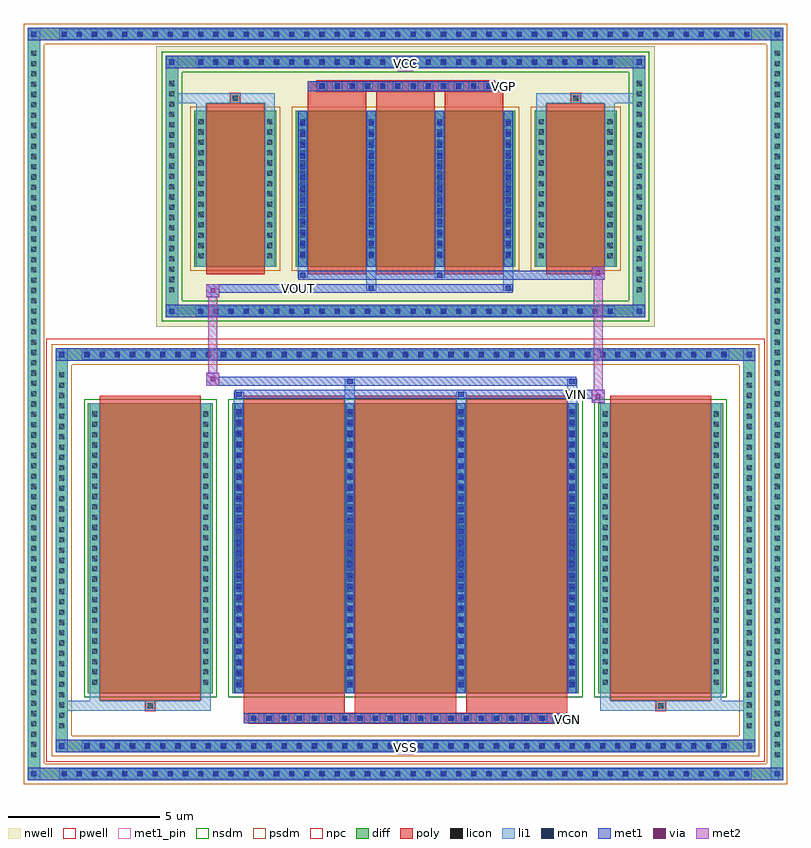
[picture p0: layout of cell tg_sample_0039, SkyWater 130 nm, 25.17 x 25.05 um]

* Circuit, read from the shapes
.subckt tg_sample_0039 VCC VGN VGP VIN VOUT VSS
XM1 VSS VSS VSS VSUBS sky130_fd_pr__nfet_01v8 w=9.56 l=3.33 m=2
XM2 VOUT VGN VIN VSUBS sky130_fd_pr__nfet_01v8 w=9.56 l=3.33 m=3
XM3 VCC VCC VCC n1 sky130_fd_pr__pfet_01v8 w=5.13 l=1.93 m=2
XM4 VOUT VGP VIN n1 sky130_fd_pr__pfet_01v8 w=5.13 l=1.93 m=3
.ends

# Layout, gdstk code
import gdstk
lib = gdstk.Library(unit=1e-6, precision=5e-09)
def R(c, l, rs):  # rectangles x0, y0, x1, y1
    for r in rs: c.add(gdstk.rectangle(r[:2], r[2:], *l))
def A(c, l, x, y, w, h, nx, ny, dx, dy):  # array of equal rectangles
    R(c, l, [(x+i*dx, y+j*dy, x+i*dx+w, y+j*dy+h) for i in range(nx) for j in range(ny)])
def P(c, l, *ps):  # polygons
    for p in ps: c.add(gdstk.Polygon(p, *l))
nwell = (64, 20)
pwell = (64, 44)
diff = (65, 20)
poly = (66, 20)
licon = (66, 44)
li1 = (67, 20)
mcon = (67, 44)
met1_pin = (68, 16)
met1 = (68, 20)
via = (68, 44)
met2 = (69, 20)
nsdm = (93, 44)
psdm = (94, 20)
npc = (95, 20)

tg_sample_0039 = lib.new_cell('tg_sample_0039')
R(tg_sample_0039, nwell, [(-8.215,7.365,8.215,16.605)])
R(tg_sample_0039, pwell, [(-11.845,-6.965,11.845,6.965)])
A(tg_sample_0039, diff, -11.455, -7.575, 0.41, 0.41, 46, 2, 0.5, 24.38)
A(tg_sample_0039, diff, -12.455, -6.945, 0.41, 0.41, 1, 69, 0, 0.34)
A(tg_sample_0039, diff, 12.045, -6.945, 0.41, 0.41, 1, 69, 0, 0.34)
A(tg_sample_0039, diff, -10.705, -6.655, 0.41, 0.41, 43, 2, 0.5, 12.9)
A(tg_sample_0039, diff, -11.535, -5.985, 0.41, 0.41, 1, 35, 0, 0.34)
A(tg_sample_0039, diff, 11.125, -5.985, 0.41, 0.41, 1, 35, 0, 0.34)
A(tg_sample_0039, diff, -6.955, 7.675, 0.41, 0.41, 28, 2, 0.5, 8.21)
A(tg_sample_0039, diff, -7.905, 8.38, 0.41, 0.41, 1, 21, 0, 0.34)
A(tg_sample_0039, diff, 7.495, 8.38, 0.41, 0.41, 1, 21, 0, 0.34)
R(tg_sample_0039, diff, [(-11.455,-7.575,11.455,-7.165), (-12.455,-6.945,-12.045,16.585), (12.045,-6.945,12.455,16.585), (-10.705,-6.655,10.705,-6.245), (-11.535,-5.985,-11.125,5.985), (11.125,-5.985,11.535,5.985), (-10.465,-4.71,-6.355,4.85), (-5.715,-4.71,5.715,4.85), (6.355,-4.71,10.465,4.85), (-10.705,6.245,10.705,6.655), (-6.955,7.675,6.955,8.085), (-7.905,8.38,-7.495,15.59), (7.495,8.38,7.905,15.59), (-6.965,9.35,-4.255,14.48), (-3.615,9.35,3.615,14.48), (4.255,9.35,6.965,14.48), (-6.955,15.885,6.955,16.295), (-11.455,16.805,11.455,17.215)])
P(tg_sample_0039, diff, [(11.535,6.655),(-11.535,6.655),(-11.535,-6.245),(-11.125,-6.245),(-11.125,6.245),(11.125,6.245),(11.125,-6.245),(-11.125,-6.245),(-11.535,-6.245),(-11.535,-6.655),(11.535,-6.655)],
  [(12.455,17.215),(-12.455,17.215),(-12.455,-7.165),(-12.045,-7.165),(-12.045,16.805),(12.045,16.805),(12.045,-7.165),(-12.045,-7.165),(-12.455,-7.165),(-12.455,-7.575),(12.455,-7.575)],
  [(7.905,7.675),(-7.905,7.675),(-7.905,15.885),(-7.495,15.885),(-7.495,8.085),(7.495,8.085),(7.495,15.885),(-7.495,15.885),(-7.905,15.885),(-7.905,16.295),(7.905,16.295)])
A(tg_sample_0039, poly, -5.165, -5.7, 0.33, 0.33, 21, 1, 0.5, 0)
A(tg_sample_0039, poly, -5.325, -5.37, 3.33, 0.41, 3, 1, 3.66, 0)
A(tg_sample_0039, poly, -5.325, -4.96, 3.33, 10.06, 3, 1, 3.66, 0)
A(tg_sample_0039, poly, -3.225, 9.1, 1.93, 5.63, 3, 1, 2.26, 0)
A(tg_sample_0039, poly, -3.225, 14.73, 1.93, 0.405, 3, 1, 2.26, 0)
A(tg_sample_0039, poly, -2.915, 15.135, 0.33, 0.33, 12, 1, 0.5, 0)
R(tg_sample_0039, poly, [(-5.325,-5.7,5.325,-5.37), (-8.575,-5.29,-8.245,-4.96), (-8.575,-5.29,-8.245,-4.96), (8.245,-5.29,8.575,-4.96), (8.245,-5.29,8.575,-4.96), (-10.075,-4.96,-6.745,5.1), (6.745,-4.96,10.075,5.1), (-6.575,9.1,-4.645,14.73), (4.645,9.1,6.575,14.73), (-5.775,14.73,-5.445,15.06), (-5.775,14.73,-5.445,15.06), (5.445,14.73,5.775,15.06), (5.445,14.73,5.775,15.06), (-3.225,15.135,3.225,15.465)])
A(tg_sample_0039, licon, -11.335, -7.455, 0.17, 0.17, 46, 2, 0.5, 24.38)
A(tg_sample_0039, licon, -12.335, -6.825, 0.17, 0.17, 1, 69, 0, 0.34)
A(tg_sample_0039, licon, 12.165, -6.825, 0.17, 0.17, 1, 69, 0, 0.34)
A(tg_sample_0039, licon, -10.585, -6.535, 0.17, 0.17, 43, 2, 0.5, 12.9)
A(tg_sample_0039, licon, -11.415, -5.865, 0.17, 0.17, 1, 35, 0, 0.34)
A(tg_sample_0039, licon, 11.245, -5.865, 0.17, 0.17, 1, 35, 0, 0.34)
A(tg_sample_0039, licon, -5.085, -5.62, 0.17, 0.17, 21, 1, 0.5, 0)
A(tg_sample_0039, licon, -10.325, -4.435, 0.17, 0.17, 1, 27, 0, 0.34)
A(tg_sample_0039, licon, -6.665, -4.435, 0.17, 0.17, 1, 27, 0, 0.34)
A(tg_sample_0039, licon, -5.575, -4.435, 0.17, 0.17, 4, 27, 3.66, 0.34)
A(tg_sample_0039, licon, 6.495, -4.435, 0.17, 0.17, 1, 27, 0, 0.34)
A(tg_sample_0039, licon, 10.155, -4.435, 0.17, 0.17, 1, 27, 0, 0.34)
A(tg_sample_0039, licon, -6.835, 7.795, 0.17, 0.17, 28, 2, 0.5, 8.21)
A(tg_sample_0039, licon, -7.785, 8.5, 0.17, 0.17, 1, 21, 0, 0.34)
A(tg_sample_0039, licon, 7.615, 8.5, 0.17, 0.17, 1, 21, 0, 0.34)
A(tg_sample_0039, licon, -6.825, 9.62, 0.17, 0.17, 1, 14, 0, 0.34)
A(tg_sample_0039, licon, -4.565, 9.62, 0.17, 0.17, 1, 14, 0, 0.34)
A(tg_sample_0039, licon, -3.475, 9.62, 0.17, 0.17, 4, 14, 2.26, 0.34)
A(tg_sample_0039, licon, 4.395, 9.62, 0.17, 0.17, 1, 14, 0, 0.34)
A(tg_sample_0039, licon, 6.655, 9.62, 0.17, 0.17, 1, 14, 0, 0.34)
A(tg_sample_0039, licon, -2.835, 15.215, 0.17, 0.17, 12, 1, 0.5, 0)
R(tg_sample_0039, licon, [(-8.495,-5.21,-8.325,-5.04), (8.325,-5.21,8.495,-5.04), (-5.695,14.81,-5.525,14.98), (5.525,14.81,5.695,14.98)])
A(tg_sample_0039, li1, -11.415, -7.535, 0.33, 0.33, 46, 2, 0.5, 24.38)
A(tg_sample_0039, li1, -12.415, -6.905, 0.33, 0.33, 1, 69, 0, 0.34)
A(tg_sample_0039, li1, 12.085, -6.905, 0.33, 0.33, 1, 69, 0, 0.34)
A(tg_sample_0039, li1, -10.665, -6.615, 0.33, 0.33, 43, 2, 0.5, 12.9)
A(tg_sample_0039, li1, -11.495, -5.945, 0.33, 0.33, 1, 35, 0, 0.34)
A(tg_sample_0039, li1, 11.165, -5.945, 0.33, 0.33, 1, 35, 0, 0.34)
A(tg_sample_0039, li1, -5.165, -5.7, 0.33, 0.33, 21, 1, 0.5, 0)
A(tg_sample_0039, li1, -5.655, -4.71, 0.33, 9.56, 4, 1, 3.66, 0)
A(tg_sample_0039, li1, -10.405, -4.515, 0.33, 0.33, 1, 27, 0, 0.34)
A(tg_sample_0039, li1, -6.745, -4.515, 0.33, 0.33, 1, 27, 0, 0.34)
A(tg_sample_0039, li1, -5.655, -4.515, 0.33, 0.33, 4, 27, 3.66, 0.34)
A(tg_sample_0039, li1, -5.575, -4.515, 0.17, 0.17, 4, 26, 3.66, 0.36)
A(tg_sample_0039, li1, -5.575, -4.515, 0.17, 9.17, 4, 1, 3.66, 0)
A(tg_sample_0039, li1, 6.415, -4.515, 0.33, 0.33, 1, 27, 0, 0.34)
A(tg_sample_0039, li1, 10.075, -4.515, 0.33, 0.33, 1, 27, 0, 0.34)
A(tg_sample_0039, li1, -6.915, 7.715, 0.33, 0.33, 28, 2, 0.5, 8.21)
A(tg_sample_0039, li1, -7.865, 8.42, 0.33, 0.33, 1, 21, 0, 0.34)
A(tg_sample_0039, li1, 7.535, 8.42, 0.33, 0.33, 1, 21, 0, 0.34)
A(tg_sample_0039, li1, -3.555, 9.35, 0.33, 5.13, 4, 1, 2.26, 0)
A(tg_sample_0039, li1, -6.905, 9.54, 0.33, 0.33, 1, 14, 0, 0.34)
A(tg_sample_0039, li1, -4.645, 9.54, 0.33, 0.33, 1, 14, 0, 0.34)
A(tg_sample_0039, li1, -3.555, 9.54, 0.33, 0.33, 4, 14, 2.26, 0.34)
A(tg_sample_0039, li1, 4.315, 9.54, 0.33, 0.33, 1, 14, 0, 0.34)
A(tg_sample_0039, li1, 6.575, 9.54, 0.33, 0.33, 1, 14, 0, 0.34)
A(tg_sample_0039, li1, -3.475, 9.67, 0.17, 0.17, 4, 13, 2.26, 0.36)
A(tg_sample_0039, li1, -3.475, 9.67, 0.17, 4.49, 4, 1, 2.26, 0)
A(tg_sample_0039, li1, -2.915, 15.135, 0.33, 0.33, 12, 1, 0.5, 0)
R(tg_sample_0039, li1, [(-12.455,-7.575,-12.045,-7.165), (12.045,-7.575,12.455,-7.165), (-11.415,-7.535,11.415,-7.205), (-12.335,-7.455,-12.165,-7.285), (-12.335,-7.455,-12.165,-7.285), (12.165,-7.455,12.335,-7.285), (12.165,-7.455,12.335,-7.285), (-12.455,-7.165,-12.045,16.805), (12.045,-7.165,12.455,16.805), (-11.535,-6.655,-11.125,-6.245), (11.125,-6.655,11.535,-6.245), (-10.665,-6.615,10.665,-6.285), (-11.415,-6.535,-11.245,-6.365), (-11.415,-6.535,-11.245,-6.365), (11.245,-6.535,11.415,-6.365), (11.245,-6.535,11.415,-6.365), (-11.535,-6.245,-11.125,6.245), (11.125,-6.245,11.535,6.245), (-11.535,-5.29,-8.575,-4.96), (-10.405,-5.29,-8.575,-4.96), (-10.405,-5.29,-10.075,-4.71), (-8.575,-5.29,-8.245,-4.96), (-8.245,-5.29,-6.415,-4.96), (-6.745,-5.29,-6.415,-4.71), (6.415,-5.29,8.245,-4.96), (6.415,-5.29,6.745,-4.71), (8.245,-5.29,8.575,-4.96), (8.245,-5.29,11.535,-4.96), (8.575,-5.29,10.405,-4.96), (10.075,-5.29,10.405,-4.71), (-10.405,-4.71,-10.075,4.85), (-6.745,-4.71,-6.415,4.85), (6.415,-4.71,6.745,4.85), (10.075,-4.71,10.405,4.85), (-5.655,4.85,-5.325,5.225), (-1.995,4.85,-1.665,5.655), (1.665,4.85,1.995,5.225), (5.325,4.85,5.655,5.655), (-5.575,5.055,-5.405,5.225), (1.745,5.055,1.915,5.225), (-1.915,5.485,-1.745,5.655), (5.405,5.485,5.575,5.655), (-11.535,6.245,-11.125,6.655), (11.125,6.245,11.535,6.655), (-10.665,6.285,10.665,6.615), (-11.415,6.365,-11.245,6.535), (-11.415,6.365,-11.245,6.535), (11.245,6.365,11.415,6.535), (11.245,6.365,11.415,6.535), (-7.905,7.675,-7.495,8.085), (7.495,7.675,7.905,8.085), (-6.915,7.715,6.915,8.045), (-7.785,7.795,-7.615,7.965), (-7.785,7.795,-7.615,7.965), (7.615,7.795,7.785,7.965), (7.615,7.795,7.785,7.965), (-7.905,8.085,-7.495,15.885), (7.495,8.085,7.905,15.885), (-1.295,8.545,-0.965,9.35), (-1.215,8.545,-1.045,8.715), (3.225,8.545,3.555,9.35), (3.305,8.545,3.475,8.715), (-3.555,8.975,-3.225,9.35), (-3.475,8.975,-3.305,9.145), (0.965,8.975,1.295,9.35), (1.045,8.975,1.215,9.145), (-6.905,9.35,-6.575,14.48), (-4.645,9.35,-4.315,14.48), (4.315,9.35,4.645,14.48), (6.575,9.35,6.905,14.48), (-6.905,14.48,-6.575,15.06), (-4.645,14.48,-4.315,15.06), (4.315,14.48,4.645,15.06), (6.575,14.48,6.905,15.06), (-7.905,14.73,-5.775,15.06), (-6.905,14.73,-5.775,15.06), (-5.775,14.73,-5.445,15.06), (-5.445,14.73,-4.315,15.06), (4.315,14.73,5.445,15.06), (5.445,14.73,5.775,15.06), (5.445,14.73,7.905,15.06), (5.775,14.73,6.905,15.06), (-7.905,15.885,-7.495,16.295), (7.495,15.885,7.905,16.295), (-6.915,15.925,6.915,16.255), (-7.785,16.005,-7.615,16.175), (-7.785,16.005,-7.615,16.175), (7.615,16.005,7.785,16.175), (7.615,16.005,7.785,16.175), (-12.455,16.805,-12.045,17.215), (12.045,16.805,12.455,17.215), (-11.415,16.845,11.415,17.175), (-12.335,16.925,-12.165,17.095), (-12.335,16.925,-12.165,17.095), (12.165,16.925,12.335,17.095), (12.165,16.925,12.335,17.095)])
A(tg_sample_0039, mcon, -11.335, -7.455, 0.17, 0.17, 46, 2, 0.5, 24.38)
A(tg_sample_0039, mcon, -10.585, -6.535, 0.17, 0.17, 43, 2, 0.5, 12.9)
A(tg_sample_0039, mcon, -5.085, -5.62, 0.17, 0.17, 21, 1, 0.5, 0)
A(tg_sample_0039, mcon, -5.575, -4.515, 0.17, 0.17, 4, 26, 3.66, 0.36)
A(tg_sample_0039, mcon, -6.835, 7.795, 0.17, 0.17, 28, 2, 0.5, 8.21)
A(tg_sample_0039, mcon, -3.475, 9.67, 0.17, 0.17, 4, 13, 2.26, 0.36)
A(tg_sample_0039, mcon, -2.835, 15.215, 0.17, 0.17, 12, 1, 0.5, 0)
R(tg_sample_0039, mcon, [(-12.335,-7.455,-12.165,-7.285), (12.165,-7.455,12.335,-7.285), (-11.415,-6.535,-11.245,-6.365), (11.245,-6.535,11.415,-6.365), (-5.575,5.055,-5.405,5.225), (1.745,5.055,1.915,5.225), (-1.915,5.485,-1.745,5.655), (5.405,5.485,5.575,5.655), (-11.415,6.365,-11.245,6.535), (11.245,6.365,11.415,6.535), (-7.785,7.795,-7.615,7.965), (7.615,7.795,7.785,7.965), (-1.215,8.545,-1.045,8.715), (3.305,8.545,3.475,8.715), (-3.475,8.975,-3.305,9.145), (1.045,8.975,1.215,9.145), (-7.785,16.005,-7.615,16.175), (7.615,16.005,7.785,16.175), (-12.335,16.925,-12.165,17.095), (12.165,16.925,12.335,17.095)])
R(tg_sample_0039, met1_pin, [(-0.25,-6.745,0.25,-6.245), (5.19,-5.7,5.46,-5.43), (5.5,4.995,5.77,5.265), (-3.67,8.485,-3.4,8.755), (3.09,15.135,3.36,15.405), (-0.25,15.795,0.25,16.295)])
A(tg_sample_0039, met1, -11.395, -7.515, 0.29, 0.29, 46, 2, 0.5, 24.38)
A(tg_sample_0039, met1, -10.645, -6.595, 0.29, 0.29, 43, 2, 0.5, 12.9)
A(tg_sample_0039, met1, -5.145, -5.68, 0.29, 0.29, 21, 1, 0.5, 0)
A(tg_sample_0039, met1, -5.635, -4.71, 0.29, 9.56, 4, 1, 3.66, 0)
A(tg_sample_0039, met1, -5.635, -4.575, 0.29, 0.29, 4, 26, 3.66, 0.36)
A(tg_sample_0039, met1, -6.895, 7.735, 0.29, 0.29, 28, 2, 0.5, 8.21)
A(tg_sample_0039, met1, -3.535, 9.35, 0.29, 5.13, 4, 1, 2.26, 0)
A(tg_sample_0039, met1, -3.535, 9.61, 0.29, 0.29, 4, 13, 2.26, 0.36)
A(tg_sample_0039, met1, -2.895, 15.155, 0.29, 0.29, 12, 1, 0.5, 0)
R(tg_sample_0039, met1, [(-12.455,-7.575,-12.045,-7.165), (-12.455,-7.575,-12.045,-7.165), (-12.045,-7.575,12.045,-7.165), (12.045,-7.575,12.455,-7.165), (12.045,-7.575,12.455,-7.165), (-12.395,-7.515,-12.105,-7.225), (12.105,-7.515,12.395,-7.225), (-11.535,-6.655,-11.125,-6.245), (-11.535,-6.655,-11.125,-6.245), (-11.125,-6.655,11.125,-6.245), (11.125,-6.655,11.535,-6.245), (11.125,-6.655,11.535,-6.245), (-11.475,-6.595,-11.185,-6.305), (11.185,-6.595,11.475,-6.305), (-5.325,-5.7,5.325,-5.37), (6.135,4.855,6.565,5.285), (-5.635,4.995,-5.345,5.285), (-5.635,4.995,5.635,5.285), (1.685,4.995,1.975,5.285), (5.635,4.995,6.565,5.285), (-6.565,5.425,-5.635,5.715), (-6.565,5.425,-6.135,5.855), (-5.635,5.425,5.635,5.715), (-1.975,5.425,-1.685,5.715), (5.345,5.425,5.635,5.715), (-11.535,6.245,-11.125,6.655), (-11.535,6.245,-11.125,6.655), (-11.125,6.245,11.125,6.655), (11.125,6.245,11.535,6.655), (11.125,6.245,11.535,6.655), (-11.475,6.305,-11.185,6.595), (11.185,6.305,11.475,6.595), (-7.905,7.675,-7.495,8.085), (-7.905,7.675,-7.495,8.085), (-7.495,7.675,7.495,8.085), (7.495,7.675,7.905,8.085), (7.495,7.675,7.905,8.085), (-7.845,7.735,-7.555,8.025), (7.555,7.735,7.845,8.025), (-6.565,8.345,-6.135,8.775), (-6.565,8.485,-3.535,8.775), (-3.535,8.485,3.535,8.775), (-1.275,8.485,-0.985,8.775), (3.245,8.485,3.535,8.775), (-3.535,8.915,-3.245,9.205), (-3.535,8.915,3.535,9.205), (0.985,8.915,1.275,9.205), (3.535,8.915,6.565,9.205), (6.135,8.915,6.565,9.345), (-3.225,15.135,3.225,15.465), (-7.905,15.885,-7.495,16.295), (-7.905,15.885,-7.495,16.295), (-7.495,15.885,7.495,16.295), (7.495,15.885,7.905,16.295), (7.495,15.885,7.905,16.295), (-7.845,15.945,-7.555,16.235), (7.555,15.945,7.845,16.235), (-12.455,16.805,-12.045,17.215), (-12.455,16.805,-12.045,17.215), (-12.045,16.805,12.045,17.215), (12.045,16.805,12.455,17.215), (12.045,16.805,12.455,17.215), (-12.395,16.865,-12.105,17.155), (12.105,16.865,12.395,17.155)])
R(tg_sample_0039, via, [(6.275,4.995,6.425,5.145), (-6.425,5.565,-6.275,5.715), (-6.425,8.485,-6.275,8.635), (6.275,9.055,6.425,9.205)])
R(tg_sample_0039, met2, [(6.135,4.855,6.565,5.285), (6.205,4.855,6.495,9.345), (6.495,4.855,6.565,5.285), (6.185,4.905,6.515,5.235), (-6.565,5.425,-6.135,5.855), (-6.495,5.425,-6.205,8.775), (-6.205,5.425,-6.135,5.855), (-6.515,5.475,-6.185,5.805), (-6.565,8.345,-6.135,8.775), (-6.205,8.345,-6.135,8.775), (-6.515,8.395,-6.185,8.725), (6.135,8.915,6.565,9.345), (6.495,8.915,6.565,9.345), (6.185,8.965,6.515,9.295)])
R(tg_sample_0039, nsdm, [(-10.595,-4.84,-6.225,4.98), (-5.845,-4.84,5.845,4.98), (6.225,-4.84,10.595,4.98)])
P(tg_sample_0039, nsdm, [(8.035,7.545),(-8.035,7.545),(-8.035,15.755),(-7.365,15.755),(-7.365,8.215),(7.365,8.215),(7.365,15.755),(-7.365,15.755),(-8.035,15.755),(-8.035,16.425),(8.035,16.425)])
R(tg_sample_0039, psdm, [(-7.095,9.22,-4.125,14.61), (-3.745,9.22,3.745,14.61), (4.125,9.22,7.095,14.61)])
P(tg_sample_0039, psdm, [(11.665,6.785),(-11.665,6.785),(-11.665,-6.115),(-10.995,-6.115),(-10.995,6.115),(10.995,6.115),(10.995,-6.115),(-10.995,-6.115),(-11.665,-6.115),(-11.665,-6.785),(11.665,-6.785)],
  [(12.585,17.345),(-12.585,17.345),(-12.585,-7.035),(-11.915,-7.035),(-11.915,16.675),(11.915,16.675),(11.915,-7.035),(-11.915,-7.035),(-12.585,-7.035),(-12.585,-7.705),(12.585,-7.705)])
A(tg_sample_0039, npc, -5.185, -5.72, 0.37, 0.37, 21, 1, 0.5, 0)
A(tg_sample_0039, npc, -2.935, 15.115, 0.37, 0.37, 12, 1, 0.5, 0)
R(tg_sample_0039, npc, [(-5.185,-5.72,-4.315,-5.35), (-5.185,-5.72,-4.315,-5.35), (-4.685,-5.72,-3.815,-5.35), (-4.685,-5.72,-3.815,-5.35), (-4.185,-5.72,-3.315,-5.35), (-4.185,-5.72,-3.315,-5.35), (-3.685,-5.72,-2.815,-5.35), (-3.685,-5.72,-2.815,-5.35), (-3.185,-5.72,-2.315,-5.35), (-3.185,-5.72,-2.315,-5.35), (-2.685,-5.72,-1.815,-5.35), (-2.685,-5.72,-1.815,-5.35), (-2.185,-5.72,-1.315,-5.35), (-2.185,-5.72,-1.315,-5.35), (-1.685,-5.72,-0.815,-5.35), (-1.685,-5.72,-0.815,-5.35), (-1.185,-5.72,-0.315,-5.35), (-1.185,-5.72,-0.315,-5.35), (-0.685,-5.72,0.185,-5.35), (-0.685,-5.72,0.185,-5.35), (-0.185,-5.72,0.685,-5.35), (-0.185,-5.72,0.685,-5.35), (0.315,-5.72,1.185,-5.35), (0.315,-5.72,1.185,-5.35), (0.815,-5.72,1.685,-5.35), (0.815,-5.72,1.685,-5.35), (1.315,-5.72,2.185,-5.35), (1.315,-5.72,2.185,-5.35), (1.815,-5.72,2.685,-5.35), (1.815,-5.72,2.685,-5.35), (2.315,-5.72,3.185,-5.35), (2.315,-5.72,3.185,-5.35), (2.815,-5.72,3.685,-5.35), (2.815,-5.72,3.685,-5.35), (3.315,-5.72,4.185,-5.35), (3.315,-5.72,4.185,-5.35), (3.815,-5.72,4.685,-5.35), (3.815,-5.72,4.685,-5.35), (4.315,-5.72,5.185,-5.35), (4.315,-5.72,5.185,-5.35), (-8.595,-5.31,-8.225,-4.94), (8.225,-5.31,8.595,-4.94), (-5.795,14.71,-5.425,15.08), (5.425,14.71,5.795,15.08), (-2.935,15.115,-2.065,15.485), (-2.935,15.115,-2.065,15.485), (-2.435,15.115,-1.565,15.485), (-2.435,15.115,-1.565,15.485), (-1.935,15.115,-1.065,15.485), (-1.935,15.115,-1.065,15.485), (-1.435,15.115,-0.565,15.485), (-1.435,15.115,-0.565,15.485), (-0.935,15.115,-0.065,15.485), (-0.935,15.115,-0.065,15.485), (-0.435,15.115,0.435,15.485), (-0.435,15.115,0.435,15.485), (0.065,15.115,0.935,15.485), (0.065,15.115,0.935,15.485), (0.565,15.115,1.435,15.485), (0.565,15.115,1.435,15.485), (1.065,15.115,1.935,15.485), (1.065,15.115,1.935,15.485), (1.565,15.115,2.435,15.485), (1.565,15.115,2.435,15.485), (2.065,15.115,2.935,15.485), (2.065,15.115,2.935,15.485)])
tg_sample_0039.add(gdstk.Label('VIN', (5.635,5.13), layer=68, texttype=5))
tg_sample_0039.add(gdstk.Label('VGN', (5.325,-5.565), layer=68, texttype=5))
tg_sample_0039.add(gdstk.Label('VGP', (3.225,15.27), layer=68, texttype=5))
tg_sample_0039.add(gdstk.Label('VSS', (0,-6.495), layer=68, texttype=5))
tg_sample_0039.add(gdstk.Label('VCC', (0,16.045), layer=68, texttype=5))
tg_sample_0039.add(gdstk.Label('VOUT', (-3.535,8.62), layer=68, texttype=5))

lib.write_gds('tg_sample_0039.gds')
